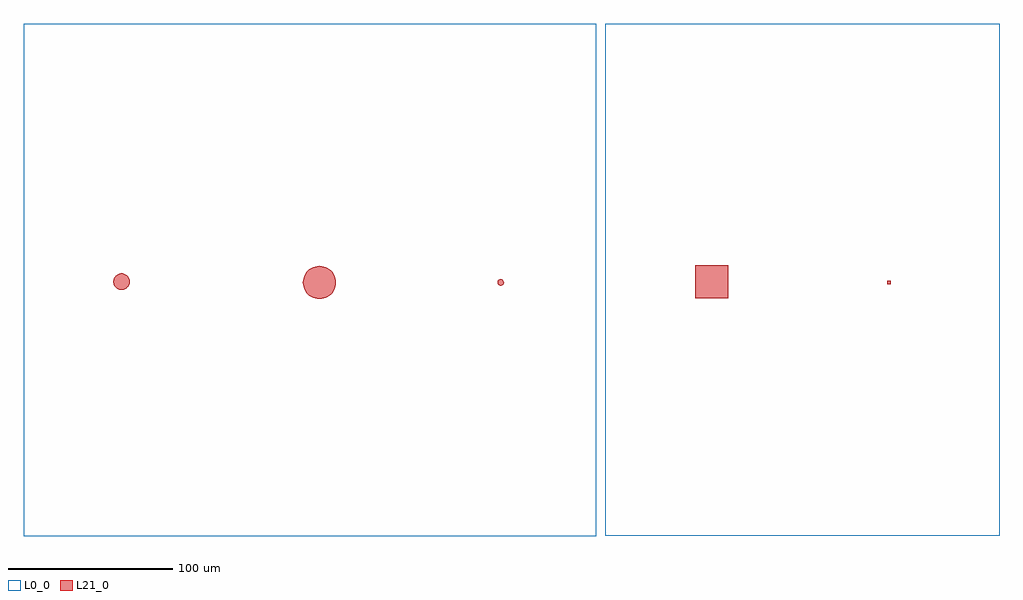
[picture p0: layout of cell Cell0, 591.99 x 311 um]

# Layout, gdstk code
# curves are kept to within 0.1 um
import gdstk
lib = gdstk.Library(unit=1e-6, precision=1e-09)
def R(c, l, rs):  # rectangles x0, y0, x1, y1
    for r in rs: c.add(gdstk.rectangle(r[:2], r[2:], *l))
def P(c, l, *ps):  # polygons
    for p in ps: c.add(gdstk.Polygon(p, *l))
L0_0 = (0, 0)
L21_0 = (21, 0)

unit_square = lib.new_cell('Unit_Square')
R(unit_square, L0_0, [(-86.498,-129.998,152.498,180.499)])
P(unit_square, L21_0, [(-31.999,33.999),(-11.998,33.999),(-11.998,13.998),(-31.998,13.998)],
  [(84.498,24.497),(86.497,24.499),(86.498,22.498),(84.498,22.497)])

unit_circle = lib.new_cell('Unit_Circle')
R(unit_circle, L0_0, [(-142.998,-129.998,204.499,180.999)])
P(unit_circle, L21_0, [(26.499,23.997),(26.837,26.587),(27.258,27.828),(27.837,28.997),(29.427,31.068),(31.498,32.658),(32.667,33.237),(33.908,33.658),(36.499,33.999),(39.088,33.658),(40.327,33.24),(42.588,31.929),(43.568,31.069),(45.158,28.999),(45.738,27.828),(46.158,26.589),(46.498,23.998),(46.159,21.408),(45.739,20.169),(45.159,18.998),(43.568,16.928),(42.589,16.068),(40.329,14.758),(39.089,14.338),(36.499,13.998),(33.908,14.338),(32.67,14.758),(31.499,15.338),(29.429,16.928),(27.839,18.998),(27.259,20.169),(26.839,21.407)],
  [(-88.498,24.497),(-88.119,26.407),(-87.039,28.038),(-85.408,29.118),(-83.498,29.499),(-81.59,29.119),(-79.959,28.038),(-78.879,26.409),(-78.498,24.499),(-78.879,22.588),(-79.959,20.96),(-81.587,19.879),(-83.498,19.498),(-85.408,19.879),(-87.037,20.957),(-88.117,22.587)],
  [(144.52,23.738),(144.538,24.398),(144.777,25.008),(145.199,25.517),(145.758,25.858),(146.397,25.997),(147.057,25.919),(147.647,25.628),(148.117,25.169),(148.407,24.578),(148.498,23.928),(148.37,23.279),(148.028,22.718),(147.528,22.288),(146.919,22.038),(146.27,22.007),(145.628,22.198),(145.09,22.579),(144.71,23.108)])

cell0 = lib.new_cell('Cell0')
cell0.add(gdstk.Reference(unit_square, (296.499,0)))
cell0.add(gdstk.Reference(unit_circle, (0,-0.498)))

lib.write_gds('Cell0.gds')
